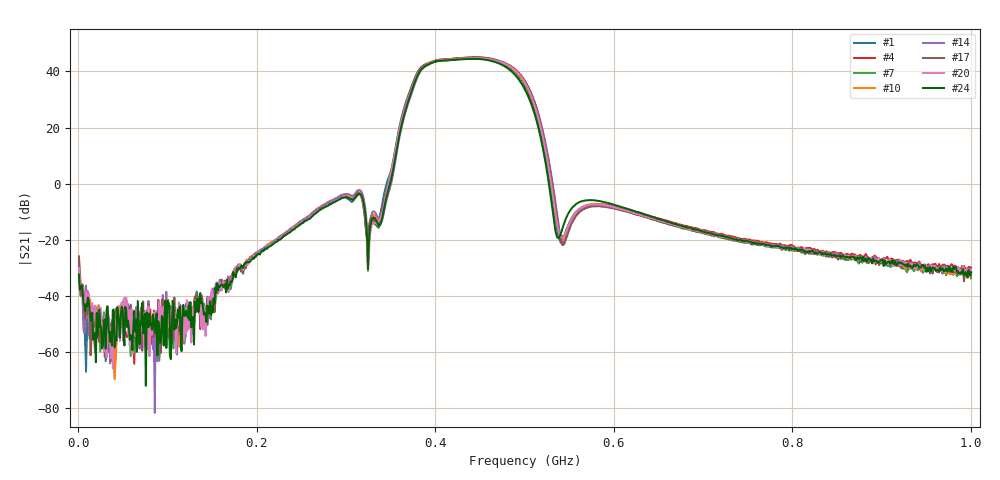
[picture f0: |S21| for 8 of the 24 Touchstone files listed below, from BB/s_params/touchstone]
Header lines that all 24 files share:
! Created with skrf 2.1.0 (http://scikit-rf.org).
# Hz S RI R 50.0
!freq ReS11 ImS11 ReS21 ImS21 ReS12 ImS12 ReS22 ImS22
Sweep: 1 MHz to 1 GHz
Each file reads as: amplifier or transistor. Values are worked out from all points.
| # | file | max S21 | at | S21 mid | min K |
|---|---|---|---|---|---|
| 1 | BAC00074P1.s2p | 44.7 dB | 442.6 MHz | 34.5 dB at 500.5 MHz | 0.93 |
| 2 | BAC00075P1.s2p | 44.4 dB | 442.6 MHz | 33.6 dB at 500.5 MHz | 0.92 |
| 3 | BAC00076P1.s2p | 45.2 dB | 446.6 MHz | 36.9 dB at 500.5 MHz | 0.92 |
| 4 | BAC00077P1.s2p | 45.0 dB | 446.6 MHz | 36.4 dB at 500.5 MHz | 1.01 |
| 5 | BAC00078P1.s2p | 44.7 dB | 442.6 MHz | 34.7 dB at 500.5 MHz | 0.95 |
| 6 | BAC00079P1.s2p | 44.7 dB | 442.6 MHz | 35.8 dB at 500.5 MHz | 0.84 |
| 7 | BAC00080P1.s2p | 45.0 dB | 442.6 MHz | 34.7 dB at 500.5 MHz | 0.99 |
| 8 | BAC00081P1.s2p | 45.2 dB | 442.6 MHz | 35.0 dB at 500.5 MHz | 0.91 |
| 9 | BAC00082P1.s2p | 44.3 dB | 446.6 MHz | 35.7 dB at 500.5 MHz | 0.99 |
| 10 | BAC00083P1.s2p | 45.0 dB | 442.6 MHz | 35.5 dB at 500.5 MHz | 0.92 |
| 11 | BAC00084P1.s2p | 44.8 dB | 446.6 MHz | 37.4 dB at 500.5 MHz | 0.93 |
| 12 | BAC00085P1.s2p | 44.6 dB | 443.6 MHz | 35.5 dB at 500.5 MHz | 0.99 |
| 13 | BAC00086P1.s2p | 44.3 dB | 443.6 MHz | 32.6 dB at 500.5 MHz | 0.96 |
| 14 | BAC00087P1.s2p | 44.7 dB | 443.6 MHz | 36.5 dB at 500.5 MHz | 0.95 |
| 15 | BAC00088P1.s2p | 44.8 dB | 443.6 MHz | 34.6 dB at 500.5 MHz | 0.99 |
| 16 | BAC00089P1.s2p | 44.9 dB | 443.6 MHz | 36.2 dB at 500.5 MHz | 0.93 |
| 17 | BAC00090P1.s2p | 45.1 dB | 443.6 MHz | 36.5 dB at 500.5 MHz | 0.74 |
| 18 | BAC00091P1.s2p | 45.0 dB | 444.6 MHz | 38.1 dB at 500.5 MHz | 0.89 |
| 19 | BAC00092P1.s2p | 44.6 dB | 443.6 MHz | 32.9 dB at 500.5 MHz | 0.98 |
| 20 | BAC00093P1.s2p | 44.8 dB | 443.6 MHz | 35.9 dB at 500.5 MHz | 0.97 |
| 21 | BAC00094P1.s2p | 45.0 dB | 443.6 MHz | 36.5 dB at 500.5 MHz | 0.85 |
| 22 | BAC00095P1.s2p | 44.4 dB | 443.6 MHz | 35.9 dB at 500.5 MHz | -7.95 |
| 23 | BAC00096P1.s2p | 45.5 dB | 443.6 MHz | 35.4 dB at 500.5 MHz | 0.93 |
| 24 | BAC00097P1.s2p | 44.5 dB | 443.6 MHz | 33.5 dB at 500.5 MHz | 1.01 |
